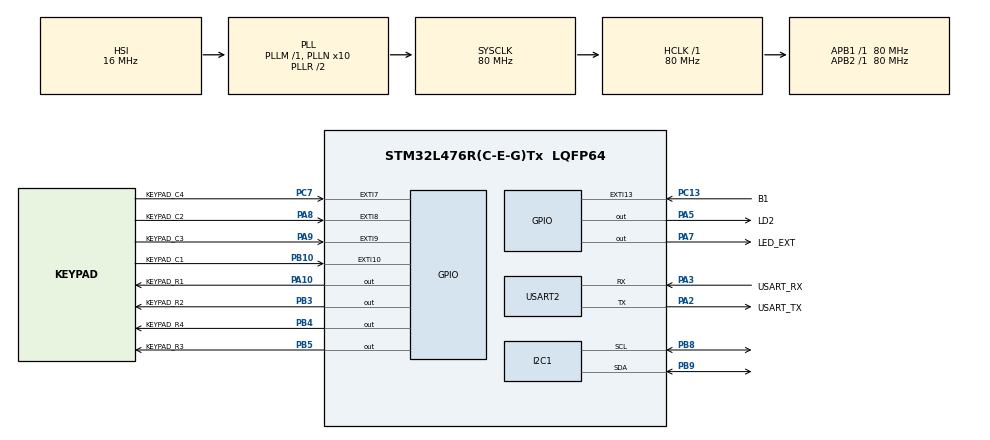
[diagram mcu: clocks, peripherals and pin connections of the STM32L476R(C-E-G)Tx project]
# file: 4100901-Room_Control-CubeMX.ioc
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I2C1.Timing=0x10D19CE4
Mcu.Family=STM32L4
Mcu.Name=STM32L476R(C-E-G)Tx
Mcu.Package=LQFP64
NVIC.EXTI15_10_IRQn=true\:0\:0\:false\:false\:true\:true\:true\:true
NVIC.EXTI9_5_IRQn=true\:0\:0\:false\:false\:true\:true\:true\:true
NVIC.PriorityGroup=NVIC_PRIORITYGROUP_4
NVIC.USART2_IRQn=true\:0\:0\:false\:false\:true\:true\:true\:true
PA10.GPIO_Label=KEYPAD_R1
PA10.Signal=GPIO_Output
PA13\ (JTMS-SWDIO).GPIO_Label=TMS
PA13\ (JTMS-SWDIO).Mode=Serial_Wire
PA13\ (JTMS-SWDIO).Signal=SYS_JTMS-SWDIO
PA14\ (JTCK-SWCLK).GPIO_Label=TCK
PA14\ (JTCK-SWCLK).Mode=Serial_Wire
PA14\ (JTCK-SWCLK).Signal=SYS_JTCK-SWCLK
PA2.GPIO_Label=USART_TX
PA2.GPIO_Mode=GPIO_MODE_AF_PP
PA2.GPIO_PuPd=GPIO_NOPULL
PA2.GPIO_Speed=GPIO_SPEED_FREQ_VERY_HIGH
PA2.Mode=Asynchronous
PA2.Signal=USART2_TX
PA3.GPIO_Label=USART_RX
PA3.GPIO_Mode=GPIO_MODE_AF_PP
PA3.GPIO_PuPd=GPIO_NOPULL
PA3.GPIO_Speed=GPIO_SPEED_FREQ_VERY_HIGH
PA3.Mode=Asynchronous
PA3.Signal=USART2_RX
PA5.GPIO_Label=LD2
PA5.Signal=GPIO_Output
PA7.GPIO_Label=LED_EXT
PA7.Signal=GPIO_Output
PA8.GPIO_Label=KEYPAD_C2
PA8.GPIO_PuPd=GPIO_PULLUP
PA8.Signal=GPXTI8
PA9.GPIO_Label=KEYPAD_C3
PA9.GPIO_PuPd=GPIO_PULLUP
PA9.Signal=GPXTI9
PB10.GPIO_Label=KEYPAD_C1
PB10.GPIO_PuPd=GPIO_PULLUP
PB10.Signal=GPXTI10
PB3\ (JTDO-TRACESWO).GPIO_Label=KEYPAD_R2
PB3\ (JTDO-TRACESWO).Signal=GPIO_Output
PB4\ (NJTRST).GPIO_Label=KEYPAD_R4
PB4\ (NJTRST).Signal=GPIO_Output
PB5.GPIO_Label=KEYPAD_R3
PB5.Signal=GPIO_Output
PB8.Mode=I2C
PB8.Signal=I2C1_SCL
PB9.Mode=I2C
PB9.Signal=I2C1_SDA
PC13.GPIO_Label=B1
PC13.GPIO_ModeDefaultEXTI=GPIO_MODE_IT_FALLING
PC13.GPIO_PuPd=GPIO_NOPULL
PC13.Signal=GPXTI13
PC14-OSC32_IN\ (PC14).Mode=LSE-External-Oscillator
PC14-OSC32_IN\ (PC14).Signal=RCC_OSC32_IN
PC15-OSC32_OUT\ (PC15).Mode=LSE-External-Oscillator
PC15-OSC32_OUT\ (PC15).Signal=RCC_OSC32_OUT
PC7.GPIO_Label=KEYPAD_C4
PC7.GPIO_PuPd=GPIO_PULLUP
PC7.Signal=GPXTI7
PH0-OSC_IN\ (PH0).Signal=RCC_OSC_IN
PH1-OSC_OUT\ (PH1).Signal=RCC_OSC_OUT
ProjectManager.HeapSize=0x200
ProjectManager.StackSize=0x400
ProjectManager.TargetToolchain=CMake
RCC.ADCFreq_Value=64000000
RCC.AHBFreq_Value=80000000
RCC.APB1Freq_Value=80000000
RCC.APB1TimFreq_Value=80000000
RCC.APB2Freq_Value=80000000
RCC.APB2TimFreq_Value=80000000
RCC.CortexFreq_Value=80000000
RCC.HCLKFreq_Value=80000000
RCC.HSE_VALUE=8000000
RCC.HSI_VALUE=16000000
RCC.MSI_VALUE=4000000
RCC.PLLN=10
RCC.PLLSourceVirtual=RCC_PLLSOURCE_HSI
RCC.PREFETCH_ENABLE=1
RCC.SYSCLKFreq_VALUE=80000000
RCC.SYSCLKSource=RCC_SYSCLKSOURCE_PLLCLK
RCC.USBFreq_Value=64000000
RCC.VCOOutputFreq_Value=160000000
USART2.VirtualMode-Asynchronous=VM_ASYNC
board=NUCLEO-L476RG

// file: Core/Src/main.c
// --- Variables específicas de tus drivers y buffers ---
/* USER CODE BEGIN Header */
/**
  ******************************************************************************
  * @file           : main.c
  * @brief          : Main program body
  ******************************************************************************
  * @attention
  *
  * Copyright (c) 2025 STMicroelectronics.
  * All rights reserved.
  *
  * This software is licensed under terms that can be found in the LICENSE file
  * in the root directory of this software component.
  * If no LICENSE file comes with this software, it is provided AS-IS.
  *
  ******************************************************************************
  */
/* USER CODE END Header */
#include "main.h"

/* USER CODE BEGIN Includes */
#include "led_driver.h"
#include "ring_buffer.h"
#include "keypad_driver.h"
#include <stdio.h>
#include <string.h>
#include "ssd1306.h" // Driver de la pantalla OLED (opcional)
#include "fonts.h"   // Fuentes para OLED (opcional)
/* USER CODE END Includes */

/* USER CODE BEGIN PD */
#define KEYPAD_BUFFER_LEN 16      // Longitud del buffer del teclado
#define RING_BUFFER_SIZE 16       // Tamaño general del buffer circular (si usas otro)
// --- CONFIGURACION DEL SISTEMA ---
#define PASSWORD "4444" // Contraseña de 4 dígitos
#define PASSWORD_LEN 4
#define DEBOUNCE_TIME_MS 100      // Tiempo de anti-rebote para las teclas (evita lecturas múltiples)
#define FEEDBACK_LED_TIME_MS 100  // Tiempo que el LED se enciende al pulsar una tecla
#define SUCCESS_LED_TIME_MS 5000  // Tiempo que el LED se enciende con contraseña correcta
/* USER CODE END PD */

I2C_HandleTypeDef hi2c1;

UART_HandleTypeDef huart2;

/* USER CODE BEGIN PV */
// --- HANDLES Y BUFFERS ---
led_handle_t led1 = { .port = GPIOA, .pin = GPIO_PIN_5 }; // LD2 en NUCLEO-L476RG

keypad_handle_t keypad = {
    .row_ports = {KEYPAD_R1_GPIO_Port, KEYPAD_R2_GPIO_Port, KEYPAD_R3_GPIO_Port, KEYPAD_R4_GPIO_Port},
    .row_pins  = {KEYPAD_R1_Pin, KEYPAD_R2_Pin, KEYPAD_R3_Pin, KEYPAD_R4_Pin},
    .col_ports = {KEYPAD_C1_GPIO_Port, KEYPAD_C2_GPIO_Port, KEYPAD_C3_GPIO_Port, KEYPAD_C4_GPIO_Port},
    .col_pins  = {KEYPAD_C1_Pin, KEYPAD_C2_Pin, KEYPAD_C3_Pin, KEYPAD_C4_Pin}
};

#define KEYPAD_BUFFER_LEN 16
uint8_t keypad_buffer[KEYPAD_BUFFER_LEN];
ring_buffer_t keypad_rb;

char entered_password[PASSWORD_LEN + 1] = {0};
uint8_t password_index = 0;

// --- VARIABLES DE ESTADO PARA LOGICA NO BLOQUEANTE ---
uint32_t last_key_press_time = 0;
uint32_t led_timer_start = 0;
uint32_t led_on_duration = 0;
/* USER CODE END PV */

void SystemClock_Config(void);
static void MX_GPIO_Init(void);
static void MX_USART2_UART_Init(void);
static void MX_I2C1_Init(void);
/* USER CODE BEGIN PFP */
void manage_led_timer(void);
void process_key(uint8_t key);
/* USER CODE END PFP */

/* USER CODE BEGIN 0 */
/**
  * @brief  Callback de la interrupción externa GPIO.
  * @note   Esta función se llama cuando se detecta un flanco en un pin configurado para interrupción.
  *         Se mantiene muy rápida: solo lee el teclado y guarda la tecla en un buffer.
  */
void HAL_GPIO_EXTI_Callback(uint16_t GPIO_Pin)
{
    char key = keypad_scan(&keypad, GPIO_Pin);
    if (key != '\0') {
        ring_buffer_write(&keypad_rb, (uint8_t)key);
    }
}

/**
 * @brief Procesa una tecla recibida del buffer del keypad.
 * @note  Contiene la lógica principal de la aplicación: feedback visual,
 *        almacenamiento de la contraseña y verificación.
 * @param key La tecla presionada a procesar.
 */
void process_key(uint8_t key)
{
    // 1. Proporcionar feedback visual inmediato al usuario
    led_on(&led1);
    led_timer_start = HAL_GetTick();
    led_on_duration = FEEDBACK_LED_TIME_MS;

    // 2. Almacenar el dígito si la contraseña no está completa
    if (password_index < PASSWORD_LEN) {
        entered_password[password_index++] = (char)key;
        printf("Digito ingresado: %c\r\n", key);
    }

    // 3. Si la contraseña se ha completado, verificarla
    if (password_index == PASSWORD_LEN) {
        if (strncmp(entered_password, PASSWORD, PASSWORD_LEN) == 0) {
            printf("ACCESO CONCEDIDO: Contraseña correcta.\r\n");
            // Iniciar el temporizador largo para el LED de éxito
            led_on(&led1);
            led_timer_start = HAL_GetTick();
            led_on_duration = SUCCESS_LED_TIME_MS;
        } else {
            printf("ACCESO DENEGADO: Contraseña incorrecta.\r\n");
            // Apagar el LED inmediatamente (o después del breve feedback)
            led_off(&led1);
            led_timer_start = 0; // Detener cualquier temporizador activo
        }

        // 4. Reiniciar para el siguiente intento
        password_index = 0;
        memset(entered_password, 0, sizeof(entered_password));
        printf("\nSistema listo. Ingrese la contraseña de 4 digitos...\r\n");
    }
}

/**
 * @brief Gestiona el apagado automático del LED sin bloquear el programa.
 * @note  Esta función debe ser llamada repetidamente en el bucle principal.
 */
void manage_led_timer(void)
{
    // Si el temporizador del LED está activo...
    if (led_timer_start != 0) {
        // ...y ha transcurrido el tiempo de duración...
        if (HAL_GetTick() - led_timer_start > led_on_duration) {
            // ...apagar el LED y desactivar el temporizador.
            led_off(&led1);
            led_timer_start = 0;
        }
    }
}

/* USER CODE END 0 */

int main(void)
{

  /* MCU Configuration--------------------------------------------------------*/

  /* Reset of all peripherals, Initializes the Flash interface and the Systick. */
  HAL_Init();

  /* Configure the system clock */
  SystemClock_Config();

  /* Initialize all configured peripherals */
  MX_GPIO_Init();
  MX_USART2_UART_Init();
  MX_I2C1_Init();
  /* USER CODE BEGIN 2 */
  // Inicialización de los drivers personalizados
  led_init(&led1);
  ring_buffer_init(&keypad_rb, keypad_buffer, KEYPAD_BUFFER_LEN);
  keypad_init(&keypad); // Asegura que las filas del keypad estén en BAJO

  printf("Sistema de Control de Acceso Iniciado.\r\n");
  printf("Ingrese la contraseña de 4 digitos...\r\n");
  /* USER CODE END 2 */

  /* Infinite loop */
  /* USER CODE BEGIN WHILE */
  while (1)
  {
    uint8_t key_from_buffer;

    // 1. Intentar leer una tecla del buffer (que es llenado por la interrupción)
    if (ring_buffer_read(&keypad_rb, &key_from_buffer)) {
        uint32_t current_time = HAL_GetTick();

        // 2. Aplicar lógica de anti-rebote (debounce) para evitar lecturas falsas
        if (current_time - last_key_press_time > DEBOUNCE_TIME_MS) {
            last_key_press_time = current_time; // Actualizar el tiempo de la última pulsación
            process_key(key_from_buffer);       // Procesar la tecla si el tiempo es válido
        }
    }

    // 3. Gestionar el temporizador del LED en cada iteración del bucle.
    //    Esto permite que el LED se apague solo sin detener el programa.
    manage_led_timer();

    /* USER CODE END WHILE */

  }
}

void SystemClock_Config(void)
{
  RCC_OscInitTypeDef RCC_OscInitStruct = {0};
  RCC_ClkInitTypeDef RCC_ClkInitStruct = {0};

  /** Configure the main internal regulator output voltage
  */
  if (HAL_PWREx_ControlVoltageScaling(PWR_REGULATOR_VOLTAGE_SCALE1) != HAL_OK)
  {
    Error_Handler();
  }

  /** Initializes the RCC Oscillators according to the specified parameters
  * in the RCC_OscInitTypeDef structure.
  */
  RCC_OscInitStruct.OscillatorType = RCC_OSCILLATORTYPE_HSI;
  RCC_OscInitStruct.HSIState = RCC_HSI_ON;
  RCC_OscInitStruct.HSICalibrationValue = RCC_HSICALIBRATION_DEFAULT;
  RCC_OscInitStruct.PLL.PLLState = RCC_PLL_ON;
  RCC_OscInitStruct.PLL.PLLSource = RCC_PLLSOURCE_HSI;
  RCC_OscInitStruct.PLL.PLLM = 1;
  RCC_OscInitStruct.PLL.PLLN = 10;
  RCC_OscInitStruct.PLL.PLLP = RCC_PLLP_DIV7;
  RCC_OscInitStruct.PLL.PLLQ = RCC_PLLQ_DIV2;
  RCC_OscInitStruct.PLL.PLLR = RCC_PLLR_DIV2;
  if (HAL_RCC_OscConfig(&RCC_OscInitStruct) != HAL_OK)
  {
    Error_Handler();
  }

  /** Initializes the CPU, AHB and APB buses clocks
  */
  RCC_ClkInitStruct.ClockType = RCC_CLOCKTYPE_HCLK|RCC_CLOCKTYPE_SYSCLK
                              |RCC_CLOCKTYPE_PCLK1|RCC_CLOCKTYPE_PCLK2;
  RCC_ClkInitStruct.SYSCLKSource = RCC_SYSCLKSOURCE_PLLCLK;
  RCC_ClkInitStruct.AHBCLKDivider = RCC_SYSCLK_DIV1;
  RCC_ClkInitStruct.APB1CLKDivider = RCC_HCLK_DIV1;
  RCC_ClkInitStruct.APB2CLKDivider = RCC_HCLK_DIV1;

  if (HAL_RCC_ClockConfig(&RCC_ClkInitStruct, FLASH_LATENCY_4) != HAL_OK)
  {
    Error_Handler();
  }
}

static void MX_I2C1_Init(void)
{

  hi2c1.Instance = I2C1;
  hi2c1.Init.Timing = 0x10D19CE4;
  hi2c1.Init.OwnAddress1 = 0;
  hi2c1.Init.AddressingMode = I2C_ADDRESSINGMODE_7BIT;
  hi2c1.Init.DualAddressMode = I2C_DUALADDRESS_DISABLE;
  hi2c1.Init.OwnAddress2 = 0;
  hi2c1.Init.OwnAddress2Masks = I2C_OA2_NOMASK;
  hi2c1.Init.GeneralCallMode = I2C_GENERALCALL_DISABLE;
  hi2c1.Init.NoStretchMode = I2C_NOSTRETCH_DISABLE;
  if (HAL_I2C_Init(&hi2c1) != HAL_OK)
  {
    Error_Handler();
  }

  /** Configure Analogue filter
  */
  if (HAL_I2CEx_ConfigAnalogFilter(&hi2c1, I2C_ANALOGFILTER_ENABLE) != HAL_OK)
  {
    Error_Handler();
  }

  /** Configure Digital filter
  */
  if (HAL_I2CEx_ConfigDigitalFilter(&hi2c1, 0) != HAL_OK)
  {
    Error_Handler();
  }

}

static void MX_USART2_UART_Init(void)
{

  huart2.Instance = USART2;
  huart2.Init.BaudRate = 115200;
  huart2.Init.WordLength = UART_WORDLENGTH_8B;
  huart2.Init.StopBits = UART_STOPBITS_1;
  huart2.Init.Parity = UART_PARITY_NONE;
  huart2.Init.Mode = UART_MODE_TX_RX;
  huart2.Init.HwFlowCtl = UART_HWCONTROL_NONE;
  huart2.Init.OverSampling = UART_OVERSAMPLING_16;
  huart2.Init.OneBitSampling = UART_ONE_BIT_SAMPLE_DISABLE;
  huart2.AdvancedInit.AdvFeatureInit = UART_ADVFEATURE_NO_INIT;
  if (HAL_UART_Init(&huart2) != HAL_OK)
  {
    Error_Handler();
  }
  /* USER CODE BEGIN USART2_Init 2 */
  #ifdef _GNUC_
    setvbuf(stdout, NULL, _IONBF, 0);
  #endif
  /* USER CODE END USART2_Init 2 */

}

static void MX_GPIO_Init(void)
{
  GPIO_InitTypeDef GPIO_InitStruct = {0};

  /* GPIO Ports Clock Enable */
  __HAL_RCC_GPIOC_CLK_ENABLE();
  __HAL_RCC_GPIOH_CLK_ENABLE();
  __HAL_RCC_GPIOA_CLK_ENABLE();
  __HAL_RCC_GPIOB_CLK_ENABLE();

  /*Configure GPIO pin Output Level */
  HAL_GPIO_WritePin(GPIOA, LD2_Pin|LED_EXT_Pin|KEYPAD_R1_Pin, GPIO_PIN_RESET);

  /*Configure GPIO pin Output Level */
  HAL_GPIO_WritePin(GPIOB, KEYPAD_R2_Pin|KEYPAD_R4_Pin|KEYPAD_R3_Pin, GPIO_PIN_RESET);

  /*Configure GPIO pin : B1_Pin */
  GPIO_InitStruct.Pin = B1_Pin;
  GPIO_InitStruct.Mode = GPIO_MODE_IT_FALLING;
  GPIO_InitStruct.Pull = GPIO_NOPULL;
  HAL_GPIO_Init(B1_GPIO_Port, &GPIO_InitStruct);

  /*Configure GPIO pins : LD2_Pin LED_EXT_Pin KEYPAD_R1_Pin */
  GPIO_InitStruct.Pin = LD2_Pin|LED_EXT_Pin|KEYPAD_R1_Pin;
  GPIO_InitStruct.Mode = GPIO_MODE_OUTPUT_PP;
  GPIO_InitStruct.Pull = GPIO_NOPULL;
  GPIO_InitStruct.Speed = GPIO_SPEED_FREQ_LOW;
  HAL_GPIO_Init(GPIOA, &GPIO_InitStruct);

  /*Configure GPIO pin : KEYPAD_C1_Pin */
  GPIO_InitStruct.Pin = KEYPAD_C1_Pin;
  GPIO_InitStruct.Mode = GPIO_MODE_IT_RISING;
  GPIO_InitStruct.Pull = GPIO_PULLUP;
  HAL_GPIO_Init(KEYPAD_C1_GPIO_Port, &GPIO_InitStruct);

  /*Configure GPIO pin : KEYPAD_C4_Pin */
  GPIO_InitStruct.Pin = KEYPAD_C4_Pin;
  GPIO_InitStruct.Mode = GPIO_MODE_IT_RISING;
  GPIO_InitStruct.Pull = GPIO_PULLUP;
  HAL_GPIO_Init(KEYPAD_C4_GPIO_Port, &GPIO_InitStruct);

  /*Configure GPIO pins : KEYPAD_C2_Pin KEYPAD_C3_Pin */
  GPIO_InitStruct.Pin = KEYPAD_C2_Pin|KEYPAD_C3_Pin;
  GPIO_InitStruct.Mode = GPIO_MODE_IT_RISING;
  GPIO_InitStruct.Pull = GPIO_PULLUP;
  HAL_GPIO_Init(GPIOA, &GPIO_InitStruct);

  /*Configure GPIO pins : KEYPAD_R2_Pin KEYPAD_R4_Pin KEYPAD_R3_Pin */
  GPIO_InitStruct.Pin = KEYPAD_R2_Pin|KEYPAD_R4_Pin|KEYPAD_R3_Pin;
  GPIO_InitStruct.Mode = GPIO_MODE_OUTPUT_PP;
  GPIO_InitStruct.Pull = GPIO_NOPULL;
  GPIO_InitStruct.Speed = GPIO_SPEED_FREQ_LOW;
  HAL_GPIO_Init(GPIOB, &GPIO_InitStruct);

  /* EXTI interrupt init*/
  HAL_NVIC_SetPriority(EXTI9_5_IRQn, 0, 0);
  HAL_NVIC_EnableIRQ(EXTI9_5_IRQn);

  HAL_NVIC_SetPriority(EXTI15_10_IRQn, 0, 0);
  HAL_NVIC_EnableIRQ(EXTI15_10_IRQn);

}

/* USER CODE BEGIN 4 */
// Sobrescribir la función _write para redirigir printf a la UART
int _write(int file, char *ptr, int len)
{
    HAL_UART_Transmit(&huart2, (uint8_t*)ptr, len, HAL_MAX_DELAY);
    return len;
}
/* USER CODE END 4 */

void Error_Handler(void)
{
  __disable_irq();
  while (1)
  {
  }
}
